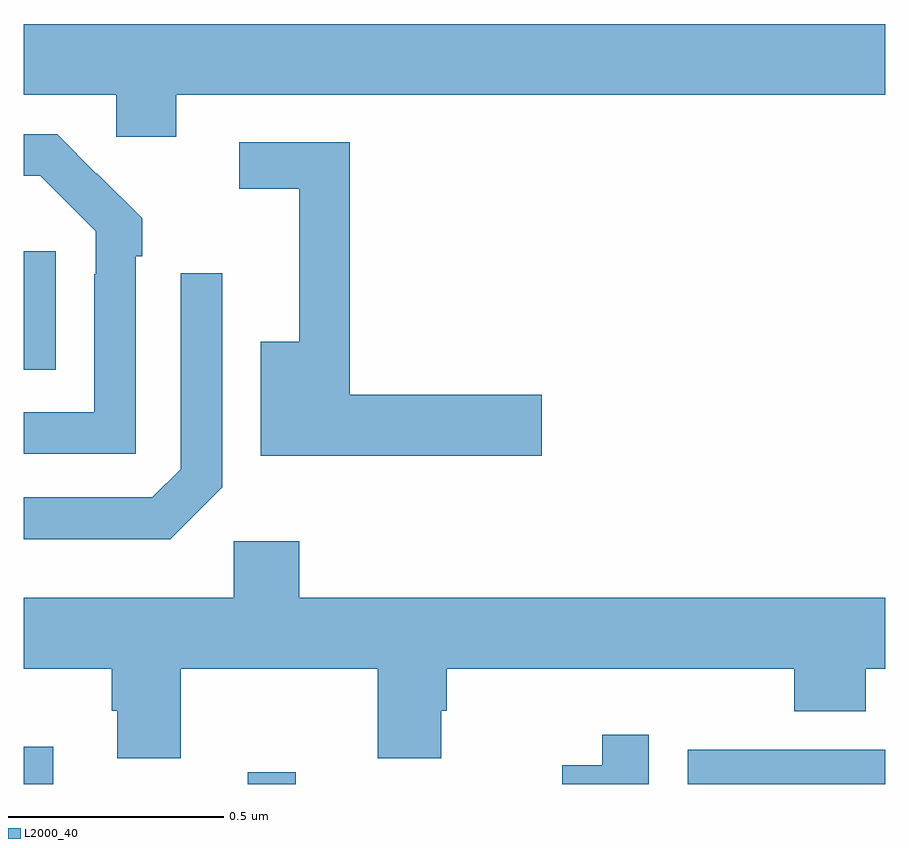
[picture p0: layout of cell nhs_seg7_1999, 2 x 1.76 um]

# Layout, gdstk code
import gdstk
lib = gdstk.Library(unit=1e-6, precision=1e-09)
def R(c, l, rs):  # rectangles x0, y0, x1, y1
    for r in rs: c.add(gdstk.rectangle(r[:2], r[2:], *l))
def P(c, l, *ps):  # polygons
    for p in ps: c.add(gdstk.Polygon(p, *l))
L2000_40 = (2000, 40)

nhs_seg7_1999 = lib.new_cell('nhs_seg7_1999')
R(nhs_seg7_1999, L2000_40, [(139,1015,139.069,1015.087), (139.52,1015,139.631,1015.027), (140.541,1015,141,1015.08), (139,1015.961,139.075,1016.236)])
P(nhs_seg7_1999, L2000_40, [(139.354,1016.6),(141,1016.6),(141,1016.764),(139,1016.764),(139,1016.6),(139.215,1016.6),(139.215,1016.502),(139.354,1016.502)],
  [(139.26,1016.225),(139.275,1016.225),(139.275,1016.313),(139.17,1016.418),(139.169,1016.417),(139.078,1016.508),(139,1016.508),(139,1016.412),(139.039,1016.412),(139.167,1016.283),(139.167,1016.183),(139.164,1016.183),(139.164,1015.863),(139,1015.863),(139,1015.767),(139.26,1015.767)],
  [(140.203,1015.904),(139.757,1015.904),(139.757,1016.49),(139.5,1016.49),(139.5,1016.382),(139.64,1016.382),(139.64,1016.026),(139.55,1016.026),(139.55,1015.762),(140.203,1015.762)],
  [(139.461,1015.689),(139.461,1016.185),(139.365,1016.185),(139.365,1015.731),(139.299,1015.665),(139,1015.665),(139,1015.568),(139.34,1015.568)],
  [(139.365,1015.268),(139.822,1015.268),(139.822,1015.06),(139.969,1015.06),(139.969,1015.17),(139.982,1015.17),(139.982,1015.268),(140.789,1015.268),(140.789,1015.169),(140.954,1015.169),(140.954,1015.268),(141,1015.268),(141,1015.432),(139.64,1015.432),(139.64,1015.564),(139.488,1015.564),(139.488,1015.432),(139,1015.432),(139,1015.268),(139.205,1015.268),(139.205,1015.17),(139.217,1015.17),(139.217,1015.06),(139.365,1015.06)],
  [(140.451,1015.114),(140.343,1015.114),(140.343,1015.044),(140.25,1015.044),(140.25,1015),(140.451,1015)])

lib.write_gds('nhs_seg7_1999.gds')
